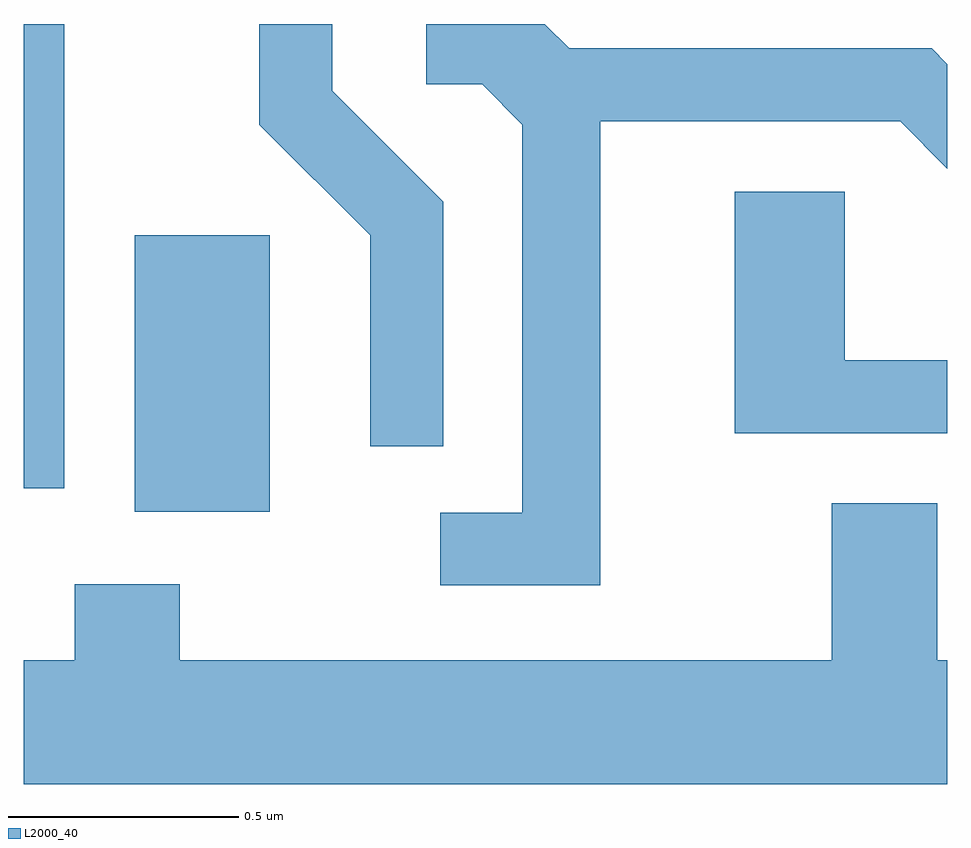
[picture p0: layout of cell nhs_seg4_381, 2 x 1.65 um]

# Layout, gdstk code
import gdstk
lib = gdstk.Library(unit=1e-6, precision=1e-09)
def R(c, l, rs):  # rectangles x0, y0, x1, y1
    for r in rs: c.add(gdstk.rectangle(r[:2], r[2:], *l))
def P(c, l, *ps):  # polygons
    for p in ps: c.add(gdstk.Polygon(p, *l))
L2000_40 = (2000, 40)

nhs_seg4_381 = lib.new_cell('nhs_seg4_381')
R(nhs_seg4_381, L2000_40, [(187.851,1361.926,188.144,1362.524), (187.611,1361.976,187.699,1362.982)])
P(nhs_seg4_381, L2000_40, [(188.519,1362.597),(188.279,1362.837),(188.279,1362.982),(188.121,1362.982),(188.121,1362.764),(188.361,1362.524),(188.361,1362.068),(188.519,1362.068)],
  [(188.859,1362.771),(189.509,1362.771),(189.611,1362.669),(189.611,1362.895),(189.577,1362.929),(188.792,1362.929),(188.739,1362.982),(188.483,1362.982),(188.483,1362.851),(188.604,1362.851),(188.691,1362.764),(188.691,1361.924),(188.513,1361.924),(188.513,1361.766),(188.859,1361.766)],
  [(189.611,1362.254),(189.389,1362.254),(189.389,1362.619),(189.151,1362.619),(189.151,1362.096),(189.611,1362.096)],
  [(189.611,1361.604),(189.589,1361.604),(189.589,1361.944),(189.361,1361.944),(189.361,1361.604),(187.949,1361.604),(187.949,1361.769),(187.721,1361.769),(187.721,1361.604),(187.611,1361.604),(187.611,1361.336),(189.611,1361.336)])

lib.write_gds('nhs_seg4_381.gds')
